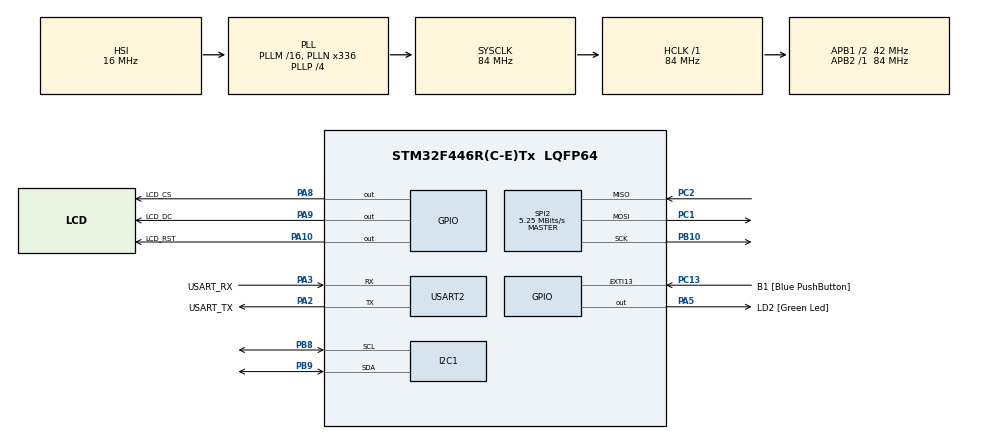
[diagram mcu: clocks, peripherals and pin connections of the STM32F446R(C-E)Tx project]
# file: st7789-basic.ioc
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Dma.Request0=SPI2_TX
Dma.SPI2_TX.0.Direction=DMA_MEMORY_TO_PERIPH
Dma.SPI2_TX.0.FIFOMode=DMA_FIFOMODE_DISABLE
Dma.SPI2_TX.0.Instance=DMA1_Stream4
Dma.SPI2_TX.0.MemDataAlignment=DMA_MDATAALIGN_BYTE
Dma.SPI2_TX.0.MemInc=DMA_MINC_ENABLE
Dma.SPI2_TX.0.Mode=DMA_NORMAL
Dma.SPI2_TX.0.PeriphDataAlignment=DMA_PDATAALIGN_BYTE
Dma.SPI2_TX.0.PeriphInc=DMA_PINC_DISABLE
Dma.SPI2_TX.0.Priority=DMA_PRIORITY_LOW
Mcu.Family=STM32F4
Mcu.Name=STM32F446R(C-E)Tx
Mcu.Package=LQFP64
NVIC.DMA1_Stream4_IRQn=true\:0\:0\:false\:false\:true\:false\:true\:true
NVIC.PriorityGroup=NVIC_PRIORITYGROUP_0
PA10.GPIO_Label=LCD_RST
PA10.Signal=GPIO_Output
PA13.GPIO_Label=TMS
PA13.Mode=Serial_Wire
PA13.Signal=SYS_JTMS-SWDIO
PA14.GPIO_Label=TCK
PA14.Mode=Serial_Wire
PA14.Signal=SYS_JTCK-SWCLK
PA2.GPIO_Label=USART_TX
PA2.Mode=Asynchronous
PA2.Signal=USART2_TX
PA3.GPIO_Label=USART_RX
PA3.Mode=Asynchronous
PA3.Signal=USART2_RX
PA5.GPIO_Label=LD2 [Green Led]
PA5.Signal=GPIO_Output
PA8.GPIO_Label=LCD_CS
PA8.Signal=GPIO_Output
PA9.GPIO_Label=LCD_DC
PA9.Signal=GPIO_Output
PB10.Mode=Full_Duplex_Master
PB10.Signal=SPI2_SCK
PB3.GPIO_Label=SWO
PB3.Signal=SYS_JTDO-SWO
PB8.Mode=I2C
PB8.Signal=I2C1_SCL
PB9.Mode=I2C
PB9.Signal=I2C1_SDA
PC1.Mode=Full_Duplex_Master
PC1.Signal=SPI2_MOSI
PC13.GPIO_Label=B1 [Blue PushButton]
PC13.GPIO_ModeDefaultEXTI=GPIO_MODE_IT_FALLING
PC13.Signal=GPXTI13
PC14-OSC32_IN.Mode=LSE-External-Oscillator
PC14-OSC32_IN.Signal=RCC_OSC32_IN
PC15-OSC32_OUT.Mode=LSE-External-Oscillator
PC15-OSC32_OUT.Signal=RCC_OSC32_OUT
PC2.Mode=Full_Duplex_Master
PC2.Signal=SPI2_MISO
PH0-OSC_IN.Mode=HSE-External-Oscillator
PH0-OSC_IN.Signal=RCC_OSC_IN
PH1-OSC_OUT.Mode=HSE-External-Oscillator
PH1-OSC_OUT.Signal=RCC_OSC_OUT
ProjectManager.HeapSize=0x200
ProjectManager.StackSize=0x400
ProjectManager.TargetToolchain=STM32CubeIDE
RCC.48MHZClocksFreq_Value=84000000
RCC.AHBFreq_Value=84000000
RCC.APB1CLKDivider=RCC_HCLK_DIV2
RCC.APB1Freq_Value=42000000
RCC.APB1TimFreq_Value=84000000
RCC.APB2Freq_Value=84000000
RCC.APB2TimFreq_Value=84000000
RCC.CortexFreq_Value=84000000
RCC.FLatency-AdvancedSettings=FLASH_LATENCY_2
RCC.HCLKFreq_Value=84000000
RCC.HSE_VALUE=8000000
RCC.HSI_VALUE=16000000
RCC.PLLN=336
RCC.PLLP=RCC_PLLP_DIV4
RCC.SYSCLKFreq_VALUE=84000000
RCC.SYSCLKSource=RCC_SYSCLKSOURCE_PLLCLK
RCC.USBFreq_Value=168000000
RCC.VCOOutputFreq_Value=336000000
RTC.Format=RTC_FORMAT_BIN
SPI2.BaudRatePrescaler=SPI_BAUDRATEPRESCALER_8
SPI2.CLKPolarity=SPI_POLARITY_LOW
SPI2.CalculateBaudRate=5.25 MBits/s
SPI2.Direction=SPI_DIRECTION_2LINES
SPI2.Mode=SPI_MODE_MASTER
SPI2.VirtualType=VM_MASTER
USART2.VirtualMode=VM_ASYNC
VP_RTC_VS_RTC_Activate.Mode=RTC_Enabled
VP_RTC_VS_RTC_Calendar.Mode=RTC_Calendar
board=NUCLEO-F446RE

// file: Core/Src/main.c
/* USER CODE BEGIN Header */
/**
  ******************************************************************************
  * @file           : main.c
  * @brief          : Main program body
  ******************************************************************************
  * @attention
  *
  * Copyright (c) 2025 STMicroelectronics.
  * All rights reserved.
  *
  * This software is licensed under terms that can be found in the LICENSE file
  * in the root directory of this software component.
  * If no LICENSE file comes with this software, it is provided AS-IS.
  *
  ******************************************************************************
  */
/* USER CODE END Header */
#include "main.h"

/* USER CODE BEGIN Includes */
#include <string.h>
#include <stdio.h>
#include "st7789.h"
#include "frame_mod.h"
#include "frames.h"
#include "bme280.h"
#include "time_convert.h"
/* USER CODE END Includes */

I2C_HandleTypeDef hi2c1;

RTC_HandleTypeDef hrtc;

SPI_HandleTypeDef hspi2;
DMA_HandleTypeDef hdma_spi2_tx;

UART_HandleTypeDef huart2;

void SystemClock_Config(void);
static void MX_GPIO_Init(void);
static void MX_DMA_Init(void);
static void MX_USART2_UART_Init(void);
static void MX_SPI2_Init(void);
static void MX_RTC_Init(void);
static void MX_I2C1_Init(void);
/* USER CODE BEGIN PFP */
static void RTC_SetToBuildTime(void);

/* USER CODE END PFP */

/* USER CODE BEGIN 0 */
uint16_t cpy[FRAME_PIXELS];
/* USER CODE END 0 */

int main(void)
{

  /* MCU Configuration--------------------------------------------------------*/

  /* Reset of all peripherals, Initializes the Flash interface and the Systick. */
  HAL_Init();

  /* Configure the system clock */
  SystemClock_Config();

  /* Initialize all configured peripherals */
  MX_GPIO_Init();
  MX_DMA_Init();
  MX_USART2_UART_Init();
  MX_SPI2_Init();
  MX_RTC_Init();
  MX_I2C1_Init();
  /* USER CODE BEGIN 2 */
  RTC_SetToBuildTime();
  BME280_Config(&hi2c1);
  Calib_Data_Read(&hi2c1);
  ST7789_Init();
  HAL_Delay(500);
  const uint16_t* animation[] = { frame3, frame6, frame9 };
  size_t framecount = sizeof(animation) / sizeof(animation[0]);

//  ST7789_Draw_Big_Endian_Image(0, 0, 240, 240, frame3);
//  HAL_Delay(1000);
//  ST7789_DrawImage(0, 0, 128, 128, (uint16_t *)saber);

  /* USER CODE END 2 */

  /* Infinite loop */
  /* USER CODE BEGIN WHILE */

  RTC_TimeTypeDef t; RTC_DateTypeDef d;
  char dateBF[20];
  char timeBF[20];
  char weekdayTemp[24];
  int32_t celcius_x100 = 0;
  int32_t rawTemp = 0;
  uint32_t last = HAL_GetTick();

  while (1)
  {
	  for (uint8_t i = 0; i < framecount; i++)
	  	 {
			 rawTemp = BME280_ReadTemp(&hi2c1);
			 celcius_x100 = BME280_compensate_T_int32(rawTemp);

			 if (HAL_GetTick() - last >= 1000)
			 {
				last += 1000;
				HAL_RTC_GetTime(&hrtc, &t, RTC_FORMAT_BIN);
				HAL_RTC_GetDate(&hrtc, &d, RTC_FORMAT_BIN);

				// Format time and date
				snprintf(timeBF,
						sizeof(timeBF),
						"%02u:%02u:%02u %s",
						t.Hours,
						t.Minutes,
						t.Seconds,
						get_AM_or_PM(t.Hours));

				snprintf(dateBF,
						sizeof(dateBF),
						"%02u %.3s %02u",
						d.Date,
						month_to_str(d.Month),
						d.Year+2000);

				snprintf(weekdayTemp,
						sizeof(weekdayTemp),
						"%s %ld.%02d~C",
						weekday_to_str(d.WeekDay),
						celcius_x100 / 100,
						abs(celcius_x100 % 100));
			 }

			 memcpy(cpy, animation[i], FRAME_PIXELS*sizeof(uint16_t));
			 Buffer_WriteString(5, 15, weekdayTemp, cpy, Font_11x18, WHITE, BLACK);
			 Buffer_WriteString(5,34, timeBF, cpy,  Font_11x18 ,WHITE, BLACK);
			 Buffer_WriteString(5,53, dateBF, cpy,  Font_7x10 ,WHITE, BLACK);
			 ST7789_Draw_Big_Endian_Image(0, 0, 240, 240, cpy);
			 HAL_Delay(100);
		 }
    /* USER CODE END WHILE */

  }
}

void SystemClock_Config(void)
{
  RCC_OscInitTypeDef RCC_OscInitStruct = {0};
  RCC_ClkInitTypeDef RCC_ClkInitStruct = {0};

  /** Configure the main internal regulator output voltage
  */
  __HAL_RCC_PWR_CLK_ENABLE();
  __HAL_PWR_VOLTAGESCALING_CONFIG(PWR_REGULATOR_VOLTAGE_SCALE3);

  /** Initializes the RCC Oscillators according to the specified parameters
  * in the RCC_OscInitTypeDef structure.
  */
  RCC_OscInitStruct.OscillatorType = RCC_OSCILLATORTYPE_HSI|RCC_OSCILLATORTYPE_LSI;
  RCC_OscInitStruct.LSEState = RCC_LSE_ON;
  RCC_OscInitStruct.HSIState = RCC_HSI_ON;
  RCC_OscInitStruct.HSICalibrationValue = RCC_HSICALIBRATION_DEFAULT;
  RCC_OscInitStruct.LSIState = RCC_LSI_ON;
  RCC_OscInitStruct.PLL.PLLState = RCC_PLL_ON;
  RCC_OscInitStruct.PLL.PLLSource = RCC_PLLSOURCE_HSI;
  RCC_OscInitStruct.PLL.PLLM = 16;
  RCC_OscInitStruct.PLL.PLLN = 336;
  RCC_OscInitStruct.PLL.PLLP = RCC_PLLP_DIV4;
  RCC_OscInitStruct.PLL.PLLQ = 2;
  RCC_OscInitStruct.PLL.PLLR = 2;
  if (HAL_RCC_OscConfig(&RCC_OscInitStruct) != HAL_OK)
  {
    Error_Handler();
  }

  /** Initializes the CPU, AHB and APB buses clocks
  */
  RCC_ClkInitStruct.ClockType = RCC_CLOCKTYPE_HCLK|RCC_CLOCKTYPE_SYSCLK
                              |RCC_CLOCKTYPE_PCLK1|RCC_CLOCKTYPE_PCLK2;
  RCC_ClkInitStruct.SYSCLKSource = RCC_SYSCLKSOURCE_PLLCLK;
  RCC_ClkInitStruct.AHBCLKDivider = RCC_SYSCLK_DIV1;
  RCC_ClkInitStruct.APB1CLKDivider = RCC_HCLK_DIV2;
  RCC_ClkInitStruct.APB2CLKDivider = RCC_HCLK_DIV1;

  if (HAL_RCC_ClockConfig(&RCC_ClkInitStruct, FLASH_LATENCY_2) != HAL_OK)
  {
    Error_Handler();
  }
}

static void MX_I2C1_Init(void)
{

  hi2c1.Instance = I2C1;
  hi2c1.Init.ClockSpeed = 100000;
  hi2c1.Init.DutyCycle = I2C_DUTYCYCLE_2;
  hi2c1.Init.OwnAddress1 = 0;
  hi2c1.Init.AddressingMode = I2C_ADDRESSINGMODE_7BIT;
  hi2c1.Init.DualAddressMode = I2C_DUALADDRESS_DISABLE;
  hi2c1.Init.OwnAddress2 = 0;
  hi2c1.Init.GeneralCallMode = I2C_GENERALCALL_DISABLE;
  hi2c1.Init.NoStretchMode = I2C_NOSTRETCH_DISABLE;
  if (HAL_I2C_Init(&hi2c1) != HAL_OK)
  {
    Error_Handler();
  }

}

static void MX_RTC_Init(void)
{

  RTC_TimeTypeDef sTime = {0};
  RTC_DateTypeDef sDate = {0};

  /** Initialize RTC Only
  */
  hrtc.Instance = RTC;
  hrtc.Init.HourFormat = RTC_HOURFORMAT_24;
  hrtc.Init.AsynchPrediv = 127;
  hrtc.Init.SynchPrediv = 255;
  hrtc.Init.OutPut = RTC_OUTPUT_DISABLE;
  hrtc.Init.OutPutPolarity = RTC_OUTPUT_POLARITY_HIGH;
  hrtc.Init.OutPutType = RTC_OUTPUT_TYPE_OPENDRAIN;
  if (HAL_RTC_Init(&hrtc) != HAL_OK)
  {
    Error_Handler();
  }

  /** Initialize RTC and set the Time and Date
  */
  sTime.Hours = 0;
  sTime.Minutes = 0;
  sTime.Seconds = 0;
  sTime.DayLightSaving = RTC_DAYLIGHTSAVING_NONE;
  sTime.StoreOperation = RTC_STOREOPERATION_RESET;
  if (HAL_RTC_SetTime(&hrtc, &sTime, RTC_FORMAT_BIN) != HAL_OK)
  {
    Error_Handler();
  }
  sDate.WeekDay = RTC_WEEKDAY_MONDAY;
  sDate.Month = RTC_MONTH_JANUARY;
  sDate.Date = 1;
  sDate.Year = 0;

  if (HAL_RTC_SetDate(&hrtc, &sDate, RTC_FORMAT_BIN) != HAL_OK)
  {
    Error_Handler();
  }

}

static void MX_SPI2_Init(void)
{

  /* SPI2 parameter configuration*/
  hspi2.Instance = SPI2;
  hspi2.Init.Mode = SPI_MODE_MASTER;
  hspi2.Init.Direction = SPI_DIRECTION_2LINES;
  hspi2.Init.DataSize = SPI_DATASIZE_8BIT;
  hspi2.Init.CLKPolarity = SPI_POLARITY_LOW;
  hspi2.Init.CLKPhase = SPI_PHASE_1EDGE;
  hspi2.Init.NSS = SPI_NSS_SOFT;
  hspi2.Init.BaudRatePrescaler = SPI_BAUDRATEPRESCALER_8;
  hspi2.Init.FirstBit = SPI_FIRSTBIT_MSB;
  hspi2.Init.TIMode = SPI_TIMODE_DISABLE;
  hspi2.Init.CRCCalculation = SPI_CRCCALCULATION_DISABLE;
  hspi2.Init.CRCPolynomial = 10;
  if (HAL_SPI_Init(&hspi2) != HAL_OK)
  {
    Error_Handler();
  }

}

static void MX_USART2_UART_Init(void)
{

  huart2.Instance = USART2;
  huart2.Init.BaudRate = 115200;
  huart2.Init.WordLength = UART_WORDLENGTH_8B;
  huart2.Init.StopBits = UART_STOPBITS_1;
  huart2.Init.Parity = UART_PARITY_NONE;
  huart2.Init.Mode = UART_MODE_TX_RX;
  huart2.Init.HwFlowCtl = UART_HWCONTROL_NONE;
  huart2.Init.OverSampling = UART_OVERSAMPLING_16;
  if (HAL_UART_Init(&huart2) != HAL_OK)
  {
    Error_Handler();
  }

}

static void MX_DMA_Init(void)
{

  /* DMA controller clock enable */
  __HAL_RCC_DMA1_CLK_ENABLE();

  /* DMA interrupt init */
  /* DMA1_Stream4_IRQn interrupt configuration */
  HAL_NVIC_SetPriority(DMA1_Stream4_IRQn, 0, 0);
  HAL_NVIC_EnableIRQ(DMA1_Stream4_IRQn);

}

static void MX_GPIO_Init(void)
{
  GPIO_InitTypeDef GPIO_InitStruct = {0};

  /* GPIO Ports Clock Enable */
  __HAL_RCC_GPIOC_CLK_ENABLE();
  __HAL_RCC_GPIOH_CLK_ENABLE();
  __HAL_RCC_GPIOA_CLK_ENABLE();
  __HAL_RCC_GPIOB_CLK_ENABLE();

  /*Configure GPIO pin Output Level */
  HAL_GPIO_WritePin(GPIOA, LD2_Pin|LCD_CS_Pin|LCD_DC_Pin|LCD_RST_Pin, GPIO_PIN_RESET);

  /*Configure GPIO pin : B1_Pin */
  GPIO_InitStruct.Pin = B1_Pin;
  GPIO_InitStruct.Mode = GPIO_MODE_IT_FALLING;
  GPIO_InitStruct.Pull = GPIO_NOPULL;
  HAL_GPIO_Init(B1_GPIO_Port, &GPIO_InitStruct);

  /*Configure GPIO pins : LD2_Pin LCD_CS_Pin LCD_DC_Pin LCD_RST_Pin */
  GPIO_InitStruct.Pin = LD2_Pin|LCD_CS_Pin|LCD_DC_Pin|LCD_RST_Pin;
  GPIO_InitStruct.Mode = GPIO_MODE_OUTPUT_PP;
  GPIO_InitStruct.Pull = GPIO_NOPULL;
  GPIO_InitStruct.Speed = GPIO_SPEED_FREQ_LOW;
  HAL_GPIO_Init(GPIOA, &GPIO_InitStruct);

}

/* USER CODE BEGIN 4 */

static void RTC_SetToBuildTime(void) {
    RTC_TimeTypeDef t = {0};
    RTC_DateTypeDef d = {0};

    // __TIME__ = "hh:mm:ss"
    // __DATE__ = "Mmm dd yyyy" e.g: Aug  8 2025

    const char *TIME = __TIME__;
    const char *DATE = __DATE__;

    // Parse time
    t.Hours   = (TIME[0]-'0')*10 + (TIME[1]-'0');
    t.Minutes = (TIME[3]-'0')*10 + (TIME[4]-'0');
    t.Seconds = (TIME[6]-'0')*10 + (TIME[7]-'0');

    // Parse month
    int month = month_from_str(DATE);

    // Parse day (DATE[4] might be space for 1–9)
    int day_tens = (DATE[4] == ' ') ? 0 : (DATE[4]-'0');
    int day_ones = (DATE[5]-'0');
    int day = day_tens*10 + day_ones;

    // Parse year
    int year = (DATE[7]-'0')*1000 + (DATE[8]-'0')*100 + (DATE[9]-'0')*10 + (DATE[10]-'0');

    d.Month   = month;
    d.Date    = day;
    d.Year    = (uint8_t)(year - 2000); // HAL wants 0–99, no register space for century
    d.WeekDay = weekday_from_ymd(year, month, day);

    // HAL expects BCD mode by default, have to covert it to binary
    HAL_RTC_SetTime(&hrtc, &t, RTC_FORMAT_BIN);
    HAL_RTC_SetDate(&hrtc, &d, RTC_FORMAT_BIN);
}
/* USER CODE END 4 */

void Error_Handler(void)
{
  __disable_irq();
  while (1)
  {
  }
}
